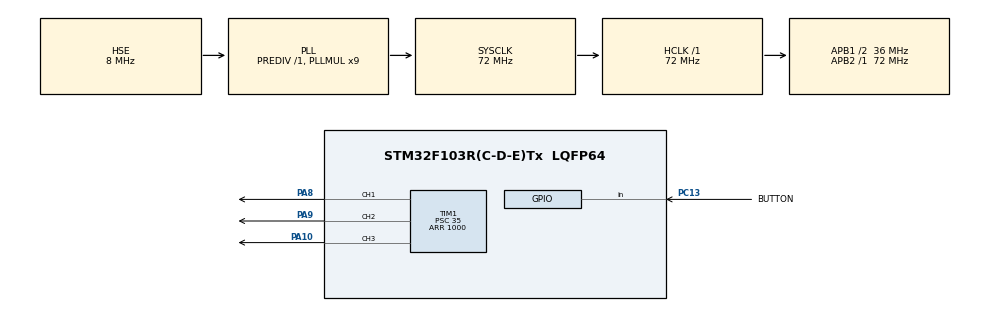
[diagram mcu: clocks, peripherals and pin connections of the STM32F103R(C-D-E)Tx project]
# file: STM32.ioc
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Mcu.Family=STM32F1
Mcu.Name=STM32F103R(C-D-E)Tx
Mcu.Package=LQFP64
NVIC.PriorityGroup=NVIC_PRIORITYGROUP_4
NVIC.TIM1_UP_IRQn=true\:0\:0\:false\:false\:true\:true\:true\:true
PA10.Signal=S_TIM1_CH3
PA13.Mode=Serial_Wire
PA13.Signal=SYS_JTMS-SWDIO
PA14.Mode=Serial_Wire
PA14.Signal=SYS_JTCK-SWCLK
PA8.Signal=S_TIM1_CH1
PA9.Signal=S_TIM1_CH2
PC13-TAMPER-RTC.GPIO_Label=BUTTON
PC13-TAMPER-RTC.GPIO_PuPd=GPIO_PULLUP
PC13-TAMPER-RTC.Signal=GPIO_Input
PD0-OSC_IN.Mode=HSE-External-Oscillator
PD0-OSC_IN.Signal=RCC_OSC_IN
PD1-OSC_OUT.Mode=HSE-External-Oscillator
PD1-OSC_OUT.Signal=RCC_OSC_OUT
ProjectManager.HeapSize=0x200
ProjectManager.StackSize=0x400
ProjectManager.TargetToolchain=STM32CubeIDE
RCC.AHBFreq_Value=72000000
RCC.APB1CLKDivider=RCC_HCLK_DIV2
RCC.APB1Freq_Value=36000000
RCC.APB1TimFreq_Value=72000000
RCC.APB2Freq_Value=72000000
RCC.APB2TimFreq_Value=72000000
RCC.HCLKFreq_Value=72000000
RCC.PLLMUL=RCC_PLL_MUL9
RCC.PLLSourceVirtual=RCC_PLLSOURCE_HSE
RCC.SYSCLKFreq_VALUE=72000000
RCC.SYSCLKSource=RCC_SYSCLKSOURCE_PLLCLK
RCC.USBFreq_Value=72000000
SH.S_TIM1_CH1.0=TIM1_CH1,PWM Generation1 CH1
SH.S_TIM1_CH2.0=TIM1_CH2,PWM Generation2 CH2
SH.S_TIM1_CH3.0=TIM1_CH3,PWM Generation3 CH3
TIM1.AutoReloadPreload=TIM_AUTORELOAD_PRELOAD_ENABLE
TIM1.Channel-PWM\ Generation1\ CH1=TIM_CHANNEL_1
TIM1.Channel-PWM\ Generation2\ CH2=TIM_CHANNEL_2
TIM1.Channel-PWM\ Generation3\ CH3=TIM_CHANNEL_3
TIM1.CounterMode=TIM_COUNTERMODE_CENTERALIGNED1
TIM1.Period=1000
TIM1.Prescaler=35
board=custom

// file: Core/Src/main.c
/* USER CODE BEGIN Header */
/**
  ******************************************************************************
  * @file           : main.c
  * @brief          : Main program body
  ******************************************************************************
  * @attention
  *
  * Copyright (c) 2026 STMicroelectronics.
  * All rights reserved.
  *
  * This software is licensed under terms that can be found in the LICENSE file
  * in the root directory of this software component.
  * If no LICENSE file comes with this software, it is provided AS-IS.
  *
  ******************************************************************************
  */
/* USER CODE END Header */
#include "main.h"

/* USER CODE BEGIN Includes */
#include "led_effect.h"
/* USER CODE END Includes */

TIM_HandleTypeDef htim1;

void SystemClock_Config(void);
static void MX_GPIO_Init(void);
static void MX_TIM1_Init(void);

/* USER CODE BEGIN 0 */
// ================= PWM OUTPUT =================
void Output_PWM_Ch1(uint16_t duty) {
    __HAL_TIM_SET_COMPARE(&htim1, TIM_CHANNEL_1, duty);
}

void Output_PWM_Ch2(uint16_t duty) {
    __HAL_TIM_SET_COMPARE(&htim1, TIM_CHANNEL_2, duty);
}

void Output_PWM_Ch3(uint16_t duty) {
    __HAL_TIM_SET_COMPARE(&htim1, TIM_CHANNEL_3, duty);
}

// ================= TIMER ISR =================
void HAL_TIM_PeriodElapsedCallback(TIM_HandleTypeDef *htim) {
    if (htim->Instance == TIM1) {
        LED_Effect_UpdateISR();
    }
}
/* USER CODE END 0 */

int main(void)
{

  /* MCU Configuration--------------------------------------------------------*/

  /* Reset of all peripherals, Initializes the Flash interface and the Systick. */
  HAL_Init();

  /* Configure the system clock */
  SystemClock_Config();

  /* Initialize all configured peripherals */
  MX_GPIO_Init();
  MX_TIM1_Init();
  /* USER CODE BEGIN 2 */
  // Khởi tạo hiệu ứng
  LED_Effect_Init();
  LED_Effect_SetSpeed(1);

  // Khởi động 3 kênh PWM
  HAL_TIM_PWM_Start(&htim1, TIM_CHANNEL_1);
  HAL_TIM_PWM_Start(&htim1, TIM_CHANNEL_2);
  HAL_TIM_PWM_Start(&htim1, TIM_CHANNEL_3);

  // Khởi động ngắt Timer Update (để gọi hàm UpdateISR mỗi 1ms - 5ms)
  HAL_TIM_Base_Start_IT(&htim1);
  __HAL_TIM_MOE_ENABLE(&htim1);
  /* USER CODE END 2 */

  /* Infinite loop */
  while (1)
  {
      if (HAL_GPIO_ReadPin(BUTTON_GPIO_Port, BUTTON_Pin) == GPIO_PIN_RESET) {
          if (HAL_GPIO_ReadPin(BUTTON_GPIO_Port, BUTTON_Pin) == GPIO_PIN_RESET) {
              LED_Effect_Toggle();
              while(HAL_GPIO_ReadPin(BUTTON_GPIO_Port, BUTTON_Pin) == GPIO_PIN_RESET);
          }
      }
  }
}

void SystemClock_Config(void)
{
  RCC_OscInitTypeDef RCC_OscInitStruct = {0};
  RCC_ClkInitTypeDef RCC_ClkInitStruct = {0};

  /** Initializes the RCC Oscillators according to the specified parameters
  * in the RCC_OscInitTypeDef structure.
  */
  RCC_OscInitStruct.OscillatorType = RCC_OSCILLATORTYPE_HSE;
  RCC_OscInitStruct.HSEState = RCC_HSE_ON;
  RCC_OscInitStruct.HSEPredivValue = RCC_HSE_PREDIV_DIV1;
  RCC_OscInitStruct.HSIState = RCC_HSI_ON;
  RCC_OscInitStruct.PLL.PLLState = RCC_PLL_ON;
  RCC_OscInitStruct.PLL.PLLSource = RCC_PLLSOURCE_HSE;
  RCC_OscInitStruct.PLL.PLLMUL = RCC_PLL_MUL9;
  if (HAL_RCC_OscConfig(&RCC_OscInitStruct) != HAL_OK)
  {
    Error_Handler();
  }

  /** Initializes the CPU, AHB and APB buses clocks
  */
  RCC_ClkInitStruct.ClockType = RCC_CLOCKTYPE_HCLK|RCC_CLOCKTYPE_SYSCLK
                              |RCC_CLOCKTYPE_PCLK1|RCC_CLOCKTYPE_PCLK2;
  RCC_ClkInitStruct.SYSCLKSource = RCC_SYSCLKSOURCE_PLLCLK;
  RCC_ClkInitStruct.AHBCLKDivider = RCC_SYSCLK_DIV1;
  RCC_ClkInitStruct.APB1CLKDivider = RCC_HCLK_DIV2;
  RCC_ClkInitStruct.APB2CLKDivider = RCC_HCLK_DIV1;

  if (HAL_RCC_ClockConfig(&RCC_ClkInitStruct, FLASH_LATENCY_2) != HAL_OK)
  {
    Error_Handler();
  }
}

static void MX_TIM1_Init(void)
{

  TIM_MasterConfigTypeDef sMasterConfig = {0};
  TIM_OC_InitTypeDef sConfigOC = {0};
  TIM_BreakDeadTimeConfigTypeDef sBreakDeadTimeConfig = {0};

  htim1.Instance = TIM1;
  htim1.Init.Prescaler = 35;
  htim1.Init.CounterMode = TIM_COUNTERMODE_CENTERALIGNED1;
  htim1.Init.Period = 1000;
  htim1.Init.ClockDivision = TIM_CLOCKDIVISION_DIV1;
  htim1.Init.RepetitionCounter = 0;
  htim1.Init.AutoReloadPreload = TIM_AUTORELOAD_PRELOAD_ENABLE;
  if (HAL_TIM_PWM_Init(&htim1) != HAL_OK)
  {
    Error_Handler();
  }
  sMasterConfig.MasterOutputTrigger = TIM_TRGO_RESET;
  sMasterConfig.MasterSlaveMode = TIM_MASTERSLAVEMODE_DISABLE;
  if (HAL_TIMEx_MasterConfigSynchronization(&htim1, &sMasterConfig) != HAL_OK)
  {
    Error_Handler();
  }
  sConfigOC.OCMode = TIM_OCMODE_PWM1;
  sConfigOC.Pulse = 0;
  sConfigOC.OCPolarity = TIM_OCPOLARITY_HIGH;
  sConfigOC.OCNPolarity = TIM_OCNPOLARITY_HIGH;
  sConfigOC.OCFastMode = TIM_OCFAST_DISABLE;
  sConfigOC.OCIdleState = TIM_OCIDLESTATE_RESET;
  sConfigOC.OCNIdleState = TIM_OCNIDLESTATE_RESET;
  if (HAL_TIM_PWM_ConfigChannel(&htim1, &sConfigOC, TIM_CHANNEL_1) != HAL_OK)
  {
    Error_Handler();
  }
  if (HAL_TIM_PWM_ConfigChannel(&htim1, &sConfigOC, TIM_CHANNEL_2) != HAL_OK)
  {
    Error_Handler();
  }
  if (HAL_TIM_PWM_ConfigChannel(&htim1, &sConfigOC, TIM_CHANNEL_3) != HAL_OK)
  {
    Error_Handler();
  }
  sBreakDeadTimeConfig.OffStateRunMode = TIM_OSSR_DISABLE;
  sBreakDeadTimeConfig.OffStateIDLEMode = TIM_OSSI_DISABLE;
  sBreakDeadTimeConfig.LockLevel = TIM_LOCKLEVEL_OFF;
  sBreakDeadTimeConfig.DeadTime = 0;
  sBreakDeadTimeConfig.BreakState = TIM_BREAK_DISABLE;
  sBreakDeadTimeConfig.BreakPolarity = TIM_BREAKPOLARITY_HIGH;
  sBreakDeadTimeConfig.AutomaticOutput = TIM_AUTOMATICOUTPUT_DISABLE;
  if (HAL_TIMEx_ConfigBreakDeadTime(&htim1, &sBreakDeadTimeConfig) != HAL_OK)
  {
    Error_Handler();
  }
  HAL_TIM_MspPostInit(&htim1);

}

static void MX_GPIO_Init(void)
{
  GPIO_InitTypeDef GPIO_InitStruct = {0};

  /* GPIO Ports Clock Enable */
  __HAL_RCC_GPIOC_CLK_ENABLE();
  __HAL_RCC_GPIOD_CLK_ENABLE();
  __HAL_RCC_GPIOA_CLK_ENABLE();

  /*Configure GPIO pin : BUTTON_Pin */
  GPIO_InitStruct.Pin = BUTTON_Pin;
  GPIO_InitStruct.Mode = GPIO_MODE_INPUT;
  GPIO_InitStruct.Pull = GPIO_PULLUP;
  HAL_GPIO_Init(BUTTON_GPIO_Port, &GPIO_InitStruct);

}

void Error_Handler(void)
{
  __disable_irq();
  while (1)
  {
  }
}
